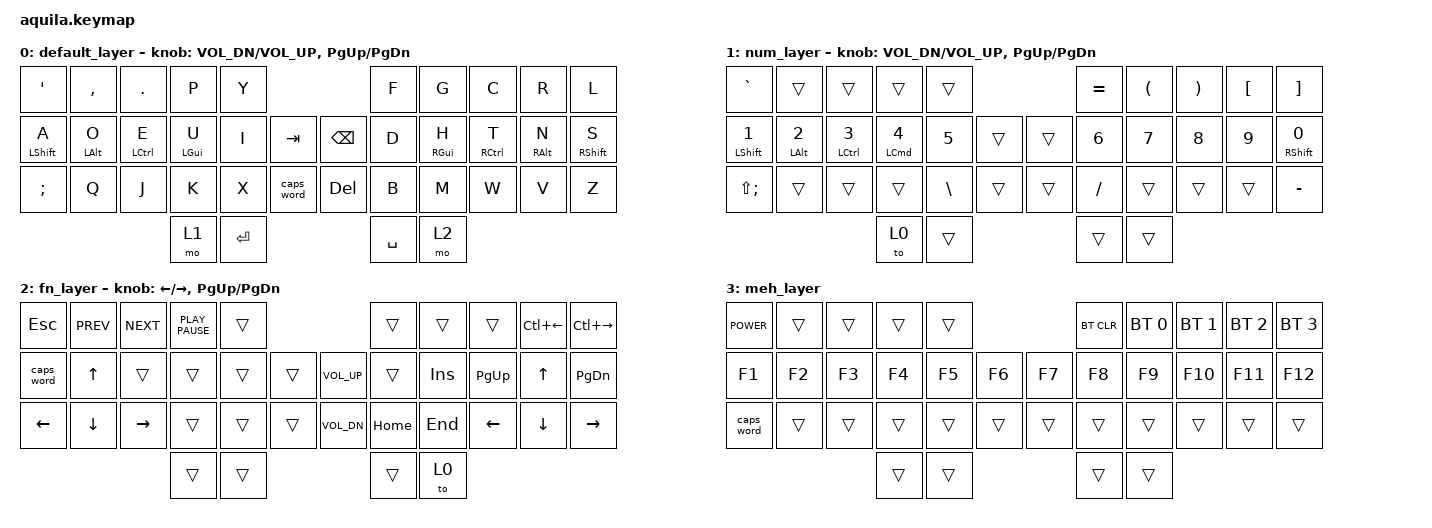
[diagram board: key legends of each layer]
/*
 * Copyright (c) 2020 The ZMK Contributors
 *
 * SPDX-License-Identifier: MIT
 */

#include <behaviors.dtsi>
#include <dt-bindings/zmk/keys.h>
#include <dt-bindings/zmk/bt.h>

#define TAPPING_TERM 210
#define QUICK_TAP    150
/* Replaces deprecated global-quick-tap; see require-prior-idle-ms docs */
#define IDLE_TERM    150

&mt {
    flavor = "balanced";
    tapping-term-ms = <TAPPING_TERM>;
    quick-tap-ms = <QUICK_TAP>;
    /* No require-prior-idle-ms here: the original tuning never had
     * global-quick-tap on &mt, and adding it forces shift-on-A to
     * resolve as "a" whenever pressed mid typing flow. */
};

/ {
    behaviors {
        bhm: homerow_mods {
            compatible = "zmk,behavior-hold-tap";
            label = "HOMEROW_MODS";
            #binding-cells = <2>;
            tapping-term-ms = <TAPPING_TERM>;
            quick-tap-ms = <QUICK_TAP>;
            /* global-quick-tap;  // deprecated */
            require-prior-idle-ms = <IDLE_TERM>;
            flavor = "tap-preferred";
            bindings =
                <&kp>,
                <&kp>;
        };

        moto: momentary_to {
            compatible = "zmk,behavior-hold-tap";
            label = "MOMENTARY_TO";
            #binding-cells = <2>;
            tapping-term-ms = <200>;
            quick-tap-ms = <125>;
            /* global-quick-tap;  // deprecated */
            /* Use the same value as quick-tap-ms for “typing streak” protection */
            require-prior-idle-ms = <125>;
            flavor = "tap-preferred";
            bindings =
                <&mo>,
                <&to>;
        };
    };

    conditional_layers {
        compatible = "zmk,conditional-layers";

        tri_layer {
            if-layers = <1 2>;
            then-layer = <3>;
        };
    };

    keymap {
        compatible = "zmk,keymap";

        default_layer {
            bindings = <
 &kp SINGLE_QUOTE    &kp COMMA       &kp DOT        &kp P    &kp Y                                 &kp F        &kp G         &kp C        &kp R          &kp L
     &mt LSHIFT A  &bhm LALT O  &bhm LCTRL E  &bhm LGUI U    &kp I     &kp TAB  &kp BACKSPACE      &kp D  &bhm RGUI H  &bhm RCTRL T  &bhm RALT N  &bhm RSHIFT S
    &kp SEMICOLON        &kp Q         &kp J        &kp K    &kp X  &caps_word        &kp DEL      &kp B        &kp M         &kp W        &kp V          &kp Z
                                                    &mo 1  &kp RET                             &kp SPACE        &mo 2
            >;

            sensor-bindings = <&inc_dec_kp C_VOL_DN C_VOL_UP &inc_dec_kp PG_UP PG_DN>;
        };

        num_layer {
            bindings = <
           &kp GRAVE       &trans        &trans       &trans         &trans                     &kp EQUAL  &kp LEFT_PARENTHESIS  &kp RIGHT_PARENTHESIS      &kp LBKT            &kp RBKT
 &mt LSHIFT NUMBER_1  &mt LALT N2  &mt LCTRL N3  &mt LCMD N4   &kp NUMBER_5  &trans  &trans  &kp NUMBER_6          &kp NUMBER_7           &kp NUMBER_8  &kp NUMBER_9  &mt RIGHT_SHIFT N0
   &kp LS(SEMICOLON)       &trans        &trans       &trans  &kp BACKSLASH  &trans  &trans     &kp SLASH                &trans                 &trans        &trans           &kp MINUS
                                                       &to 0         &trans                        &trans                &trans
            >;

            sensor-bindings = <&inc_dec_kp C_VOL_DN C_VOL_UP &inc_dec_kp PG_UP PG_DN>;
        };

        fn_layer {
            bindings = <
    &kp ESC  &kp K_PREV  &kp K_NEXT  &kp K_PLAY_PAUSE  &trans                          &trans      &trans       &trans  &kp LC(LEFT)  &kp LC(RIGHT)
 &caps_word      &kp UP      &trans            &trans  &trans  &trans  &kp C_VOL_UP    &trans  &kp INSERT  &kp PAGE_UP        &kp UP  &kp PAGE_DOWN
   &kp LEFT    &kp DOWN   &kp RIGHT            &trans  &trans  &trans  &kp C_VOL_DN  &kp HOME     &kp END     &kp LEFT      &kp DOWN      &kp RIGHT
                                               &trans  &trans                          &trans       &to 0
            >;

            sensor-bindings = <&inc_dec_kp LEFT RIGHT &inc_dec_kp PG_UP PG_DN>;
        };

        meh_layer {
            bindings = <
 &kp K_POWER  &trans  &trans  &trans  &trans                  &bt BT_CLR  &bt BT_SEL 0  &bt BT_SEL 1  &bt BT_SEL 2  &bt BT_SEL 3
      &kp F1  &kp F2  &kp F3  &kp F4  &kp F5  &kp F6  &kp F7      &kp F8        &kp F9       &kp F10       &kp F11       &kp F12
  &caps_word  &trans  &trans  &trans  &trans  &trans  &trans      &trans        &trans        &trans        &trans        &trans
                              &trans  &trans                      &trans        &trans
            >;
        };
    };
};
